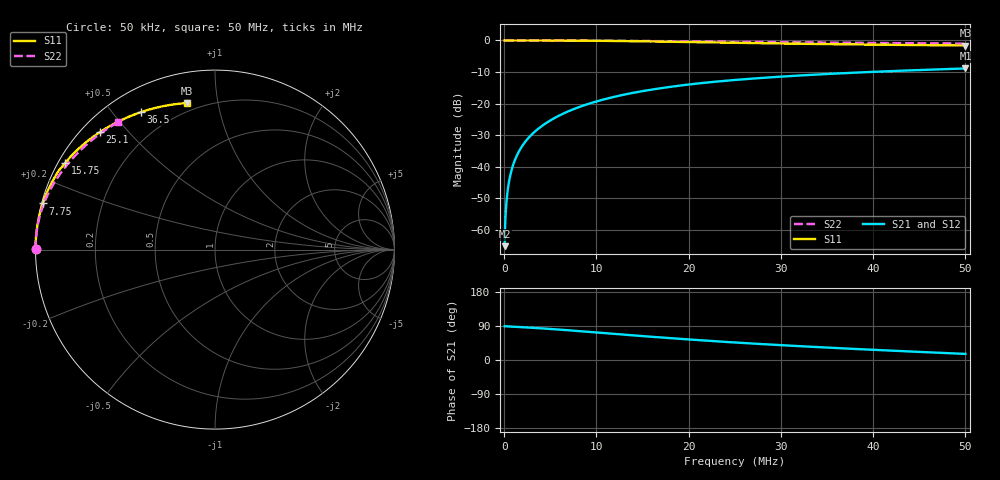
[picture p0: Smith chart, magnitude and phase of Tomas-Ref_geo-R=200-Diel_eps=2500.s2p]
! TOUCHSTONE file generated by CST MICROWAVE STUDIO
! Date and time: Sat Oct 08 01:36:55 2016
! Project name: tomas_icrh_linear_2016-plasma-Rdiel=200.cst
! Header version: 2015
! Port assignment regex: !\s*Touchstone port\s*([0-9]+)\s*=\s*CST MWS port\s*([0-9]+)\s*\(\"(.*)\"\)(\s*mode\s*([0-9]+))?.*
! Touchstone port assignment:
! Touchstone port 1 = CST MWS port 1 ("")
! Touchstone port 2 = CST MWS port 2 ("")
# MHZ S MA R 50
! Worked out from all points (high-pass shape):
!   1000 points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, 50 kHz to 50 MHz, reference 50 ohm
!   highest |S21| = -8.87 dB at 50 MHz (marker M1); lowest = -65.1 dB at 50 kHz (marker M2)
!   |S21| within 3 dB of the highest: 27.9 MHz to end of sweep
!   lowest |S11| = -1.6 dB at 50 MHz (marker M3), VSWR 10.86, Z = 7.69 + j40.6 ohm
!   |S11| at or under -10 dB: nowhere
!   |S22| runs from -1.0 to 0.0 dB; largest |S21 - S12| = 1.1e-06
!   S11 on the Smith chart (normalised r, x): 50 kHz: 0.00, +0.00; 7.75 MHz: 0.00, +0.13; 15.75 MHz: 0.02, +0.27; 25.1 MHz: 0.05, +0.42; 36.5 MHz: 0.09, +0.59; 50 MHz: 0.15, +0.81
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0.05  1 179.9  0.000554 89.3  0.000554 89.3  1 179.9
0.15  1 179.7  0.001662 89.0  0.001662 89.0  1 179.8
0.4  1 179.2  0.004422 88.7  0.004422 88.7  1 179.5
0.6  1 178.8  0.00662 88.4  0.00662 88.4  1 179.3
0.8  1 178.4  0.008811 88.1  0.008811 88.1  1 179.0
1.05  0.9999 177.9  0.01154 87.8  0.01154 87.8  0.9999 178.7
1.35  0.9999 177.4  0.0148 87.4  0.0148 87.4  0.9999 178.3
1.75  0.9998 176.6  0.01913 86.9  0.01913 86.9  0.9998 177.8
2.75  0.9995 174.7  0.02988 85.5  0.02988 85.5  0.9995 176.6
4.05  0.9988 172.2  0.04378 83.5  0.04378 83.5  0.9989 175.1
5.7  0.9972 169.0  0.06182 80.8  0.06182 80.8  0.9977 173.1
7.75  0.9938 165.0  0.08419 77.0  0.08419 77.0  0.9956 170.6
8.4  0.9924 163.7  0.0912 75.8  0.0912 75.8  0.9947 169.8
11.7  0.9825 157.4  0.1257 69.3  0.1257 69.3  0.9891 165.8
15.75  0.9648 150.1  0.1645 61.7  0.1645 61.7  0.9795 161.1
16.7  0.9598 148.4  0.173 60.0  0.173 60.0  0.9769 160.0
25.05  0.9169 134.6  0.2371 46.1  0.2371 46.1  0.9524 151.0
25.1  0.9167 134.6  0.2374 46.1  0.2374 46.1  0.9522 150.9
33.35  0.881 122.5  0.2859 34.8  0.2859 34.8  0.9293 142.6
36.5  0.8696 118.2  0.3019 31.0  0.3019 31.0  0.9213 139.6
41.7  0.8532 111.4  0.3261 25.0  0.3261 25.0  0.9091 134.7
50  0.8313 101.0  0.3604 16.1  0.3604 16.1  0.8915 127.1
